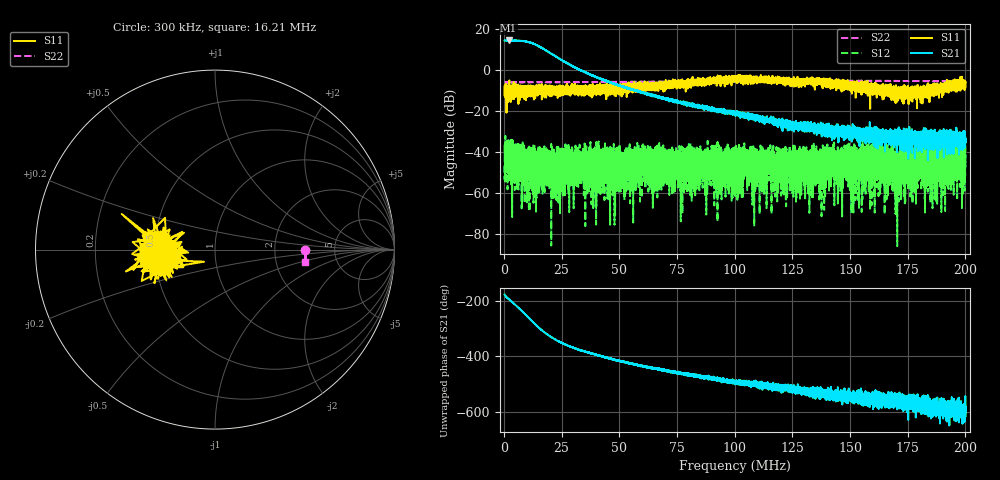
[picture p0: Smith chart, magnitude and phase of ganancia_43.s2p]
# Hz S DB R 50
! CMT, M5065, 19127446, 24.2.4/2
! Date: 10/29/2024 12:40:40 PM
! Data: Format (Calibration Info)
! Freq	S11:dB/Ang(F2)	S21:dB/Ang(F2)	S12:dB/Ang(F2)	S22:dB/Ang(F2)
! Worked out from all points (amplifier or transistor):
!   9000 points, 300 kHz to 200 MHz, reference 50 ohm
!   highest |S21| = 14.4 dB at 2.031 MHz (marker M1)
!   |S21| within 3 dB of that: start of sweep to 15.44 MHz
!   unconditionally stable (mu >= 1): start of sweep to end of sweep
!   at 33.59 MHz: K = 68.23, MAG = 1.4 dB, |S12| = -45.9 dB
!   at 100.2 MHz: K = 526.76, MAG = -17.5 dB, |S12| = -47.1 dB
!   at 200 MHz: K = 992.02, MAG = -31.5 dB, |S12| = -36.6 dB
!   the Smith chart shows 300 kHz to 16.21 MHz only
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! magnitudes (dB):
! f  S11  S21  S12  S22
! 300 kHz  -8.0  14.3  -46.6  -6.0
! 2.031 MHz  -11.7  14.4  -35.4  -5.9
! 6.669 MHz  -8.5  14.2  -40.3  -6.0
! 9.443 MHz  -8.5  13.9  -40.9  -5.9
! 33.59 MHz  -10.3  -0.3  -45.9  -5.8
! 38.58 MHz  -12.2  -2.6  -43.0  -5.9
! 43.15 MHz  -10.3  -4.7  -58.5  -5.8
! 47.66 MHz  -7.8  -6.6  -42.4  -5.8
! 66.87 MHz  -10.2  -12.9  -42.9  -5.7
! 77.5 MHz  -6.4  -15.5  -37.7  -5.7
! 79.86 MHz  -6.3  -17.2  -38.1  -5.6
! 100.2 MHz  -3.4  -21.5  -47.1  -5.6
! 133.4 MHz  -4.7  -29.5  -48.6  -5.4
! 148.2 MHz  -8.4  -29.2  -52.5  -5.3
! 150.7 MHz  -8.1  -30.8  -48.6  -5.3
! 154.9 MHz  -8.1  -33.2  -46.6  -5.2
! 166.7 MHz  -9.5  -32.1  -42.5  -5.3
! 170.4 MHz  -11.1  -30.3  -47.1  -5.3
! 172.7 MHz  -15.4  -30.1  -47.3  -5.4
! 176.3 MHz  -14.5  -33.0  -37.8  -5.4
! 198.6 MHz  -6.2  -31.4  -42.0  -5.5
! 200 MHz  -8.4  -33.6  -36.6  -5.5
